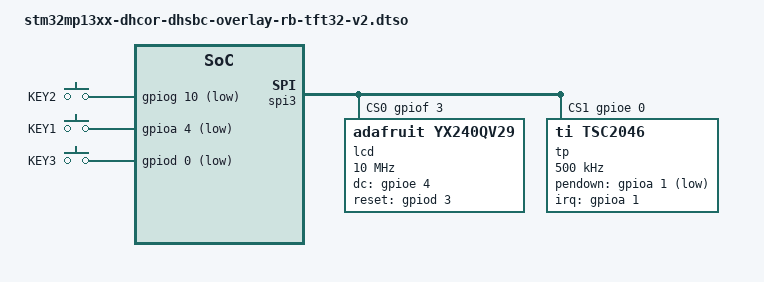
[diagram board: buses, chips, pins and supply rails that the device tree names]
// SPDX-License-Identifier: (GPL-2.0+ OR BSD-3-Clause)
/*
 * Copyright (C) 2024 Marek Vasut
 */

#include <dt-bindings/gpio/gpio.h>
#include <dt-bindings/interrupt-controller/irq.h>
#include <dt-bindings/input/linux-event-codes.h>

/dts-v1/;
/plugin/;

&{/} {
	gpio-keys {
		compatible = "gpio-keys";

		button-1 {
			label = "KEY2";
			linux,code = <KEY_2>;
			gpios = <&gpiog 10 GPIO_ACTIVE_LOW>;
			wakeup-source;
		};
	};

	gpio-keys-polled {
		compatible = "gpio-keys-polled";
		poll-interval = <20>;

		button-0 {
			label = "KEY1";
			linux,code = <KEY_1>;
			/* IRQ bank A shared with PA1 touch controller */
			gpios = <&gpioa 4 GPIO_ACTIVE_LOW>;
		};

		button-2 {
			label = "KEY3";
			linux,code = <KEY_3>;
			/* IRQ line 0 taken by PI0 / SoM RTC IRQ */
			gpios = <&gpiod 0 GPIO_ACTIVE_LOW>;
		};
	};
};

&m_can1 {
	/* Collides with KEY2/PG10 KEY3/PD0 */
	status = "disabled";
};

&m_can2 {
	/* Collides with TP_CS/PE6 */
	status = "disabled";
};

&usart2 {
	/* Collides with TP_IRQ/PA1 */
	status = "disabled";
};

&spi3 {
	#address-cells = <1>;
	#size-cells = <0>;
	cs-gpios = <&gpiof 3 0>, <&gpioe 0 0>;
	status = "okay";

	lcd@0 {
		compatible = "adafruit,yx240qv29", "ilitek,ili9341";
		reg = <0>;
		spi-max-frequency = <10000000>;
		dc-gpios = <&gpioe 4 GPIO_ACTIVE_HIGH>;
		reset-gpios = <&gpiod 3 GPIO_ACTIVE_HIGH>;
		rotation = <90>;
	};

	tp@1 {
		compatible = "ti,tsc2046";
		reg = <1>;
		interrupt-parent = <&gpioa>;
		interrupts = <1 IRQ_TYPE_EDGE_FALLING>;
		pendown-gpio = <&gpioa 1 GPIO_ACTIVE_LOW>;
		spi-max-frequency = <500000>;
		ti,pressure-max = /bits/ 16 <255>;
		ti,x-plate-ohms = /bits/ 16 <60>;
	};
};
